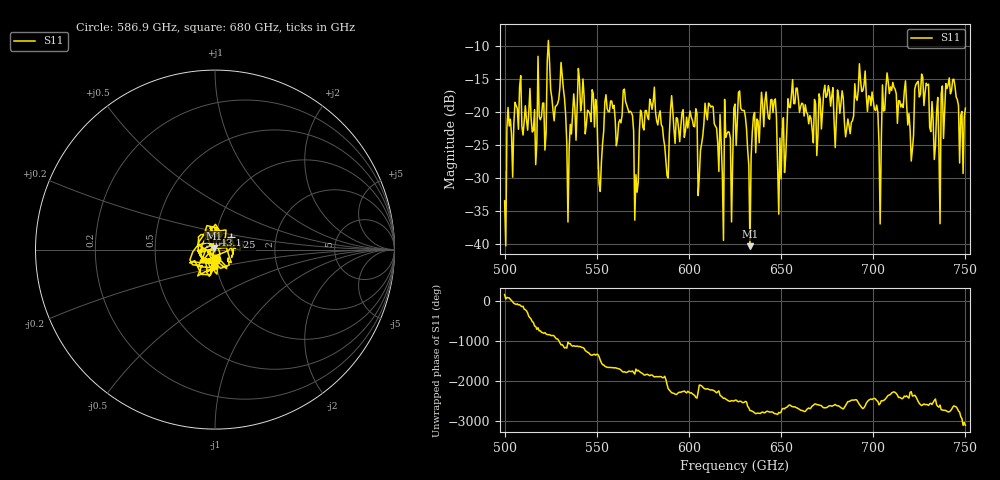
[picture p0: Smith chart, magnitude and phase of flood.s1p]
!Created with skrf (http://scikit-rf.org).
# GHz S RI R 50.0
!freq ReS11 ImS11
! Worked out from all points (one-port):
!   401 points, 500 GHz to 750 GHz, reference 50 ohm
!   lowest |S11| = -40.4 dB at 633.1 GHz (marker M1), VSWR 1.02, Z = 49.3 + j0.639 ohm
!   |S11| at or under -10 dB: start of sweep to 523.6 GHz; 523.9 GHz to end of sweep
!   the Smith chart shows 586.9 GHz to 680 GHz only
!   S11 on the Smith chart (normalised r, x): 586.9 GHz: 1.01, -0.11; 625 GHz: 1.19, +0.17; 643.1 GHz: 0.92, +0.15; 680 GHz: 0.97, -0.17
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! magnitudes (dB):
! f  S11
! 500 GHz  -33.5
! 502.5 GHz  -22.2
! 507.5 GHz  -22.7
! 516.2 GHz  -19.7
! 531.2 GHz  -14.4
! 535 GHz  -25.8
! 541.2 GHz  -19.9
! 548.8 GHz  -22.3
! 551.9 GHz  -32.1
! 555.6 GHz  -19.5
! 562.5 GHz  -21.2
! 568.1 GHz  -19.9
! 571.2 GHz  -29.5
! 580 GHz  -19.6
! 586.9 GHz  -25.2
! 593.8 GHz  -21.0
! 611.9 GHz  -19.3
! 617.5 GHz  -24.7
! 625 GHz  -18.8
! 628.1 GHz  -19.5
! 633.1 GHz  -40.4
! 643.1 GHz  -20.9
! 649.4 GHz  -24.0
! 656.2 GHz  -15.1
! 680 GHz  -21.2
! 687.5 GHz  -23.3
! 718.8 GHz  -22.0
! 750 GHz  -19.5
